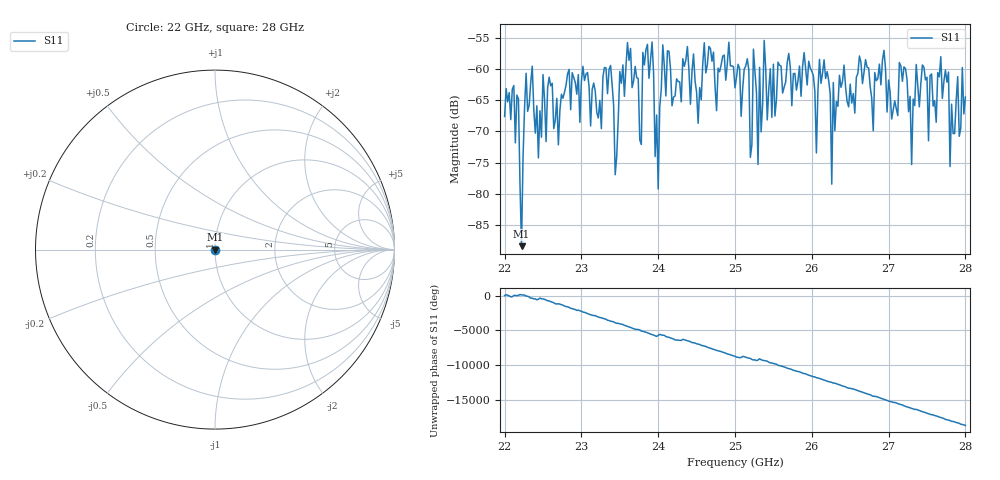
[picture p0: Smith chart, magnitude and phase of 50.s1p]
#  HZ  S  RI  R  50.00
! Rohde & Schwarz ZVA40 4Ports - Version 3.90 - 1145.1110k42 SN: 100403
! Date: 2023-10-04 06:40:29
! Measurement: S12
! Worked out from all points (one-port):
!   301 points, 22 GHz to 28 GHz, reference 50 ohm
!   lowest |S11| = -88.4 dB at 22.22 GHz (marker M1), VSWR 1.00, Z = 50 + j0.00293 ohm
!   |S11| at or under -10 dB: start of sweep to end of sweep
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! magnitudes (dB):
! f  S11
! 22 GHz  -67.6
! 22.18 GHz  -64.8
! 22.22 GHz  -88.4
! 22.28 GHz  -60.7
! 22.76 GHz  -64.7
! 23.38 GHz  -59.4
! 23.44 GHz  -77.0
! 23.5 GHz  -60.4
! 23.78 GHz  -72.1
! 23.8 GHz  -57.3
! 23.92 GHz  -55.7
! 24 GHz  -79.2
! 24.06 GHz  -56.1
! 24.26 GHz  -62.0
! 25 GHz  -63.0
! 25.16 GHz  -58.3
! 25.2 GHz  -74.2
! 25.24 GHz  -56.8
! 25.3 GHz  -75.3
! 25.38 GHz  -55.4
! 25.76 GHz  -60.7
! 26.06 GHz  -73.5
! 26.16 GHz  -58.5
! 26.26 GHz  -78.5
! 26.28 GHz  -62.2
! 26.5 GHz  -62.4
! 27.26 GHz  -66.8
! 28 GHz  -64.5
